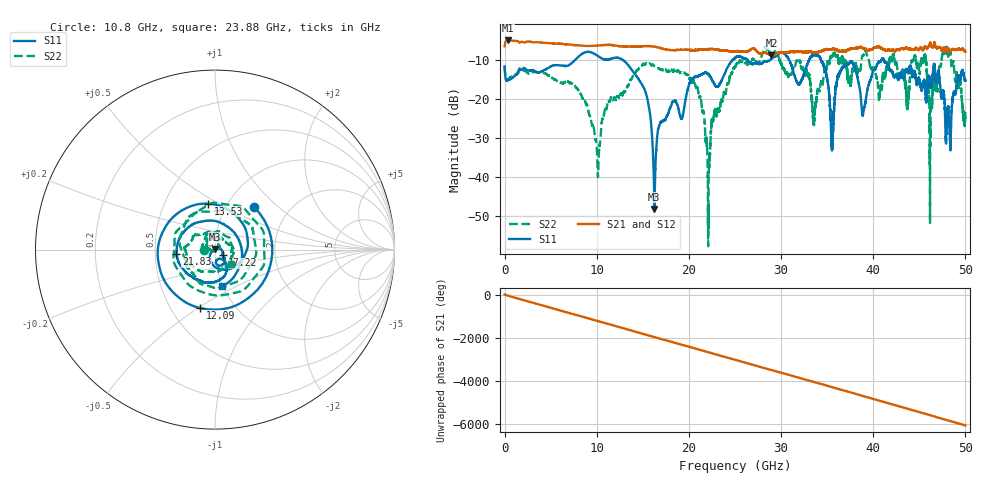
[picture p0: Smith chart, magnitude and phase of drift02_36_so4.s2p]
!Created with skrf (http://scikit-rf.org).
# Hz S RI R 50.0
!freq ReS11 ImS11 ReS21 ImS21 ReS12 ImS12 ReS22 ImS22
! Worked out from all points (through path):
!   10001 points, 300 kHz to 50 GHz, reference 50 ohm
!   highest |S21| = -5.04 dB at 325.3 MHz (marker M1); lowest = -8.9 dB at 28.96 GHz (marker M2)
!   group delay of S21, straight-line fit = 336 ps
!   lowest |S11| = -48.3 dB at 16.25 GHz (marker M3), VSWR 1.01, Z = 49.8 + j0.319 ohm
!   |S11| at or under -10 dB: start of sweep to 7.668 GHz; 12.82 GHz to 24.78 GHz (11.96 GHz wide, 63.6 % of centre); 41.13 GHz to end of sweep (the widest 3 of 11)
!   |S22| runs from -57.8 to -6.7 dB; largest |S21 - S12| = 0.03
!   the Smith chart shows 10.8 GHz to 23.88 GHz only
!   S11 on the Smith chart (normalised r, x): 10.8 GHz: 1.35, +0.71; 12.09 GHz: 0.69, -0.51; 13.53 GHz: 0.82, +0.45; 17.22 GHz: 1.09, -0.07; 21.83 GHz: 0.64, -0.04; 23.88 GHz: 0.99, -0.43
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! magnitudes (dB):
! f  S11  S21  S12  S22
! 300 kHz  -11.7  -6.5  -6.5  -11.6
! 325.3 MHz  -15.3  -5.0  -5.0  -15.1
! 8.335 GHz  -8.6  -6.4  -6.4  -19.1
! 10.11 GHz  -9.0  -6.3  -6.3  -38.4
! 10.8 GHz  -9.9  -6.2  -6.2  -23.9
! 12.09 GHz  -9.5  -6.4  -6.4  -20.3
! 13.53 GHz  -11.7  -6.6  -6.6  -16.0
! 16.25 GHz  -48.3  -6.6  -6.6  -11.7
! 16.67 GHz  -27.7  -6.8  -6.8  -12.2
! 17.22 GHz  -25.5  -7.2  -7.2  -12.8
! 21.83 GHz  -13.3  -7.3  -7.3  -30.9
! 23.88 GHz  -13.6  -7.6  -7.6  -18.4
! 25 GHz  -9.6  -7.8  -7.9  -12.0
! 28.96 GHz  -9.8  -8.9  -8.9  -8.1
! 33.34 GHz  -9.0  -8.0  -8.0  -20.4
! 35.54 GHz  -33.0  -7.3  -7.3  -9.1
! 36.79 GHz  -11.7  -7.9  -8.0  -9.6
! 41.67 GHz  -11.9  -7.4  -7.5  -11.7
! 45.49 GHz  -15.3  -7.1  -7.0  -9.6
! 46.25 GHz  -17.0  -6.1  -6.1  -22.0
! 48.13 GHz  -22.1  -7.2  -7.1  -8.9
! 50 GHz  -15.3  -7.9  -7.9  -23.1
